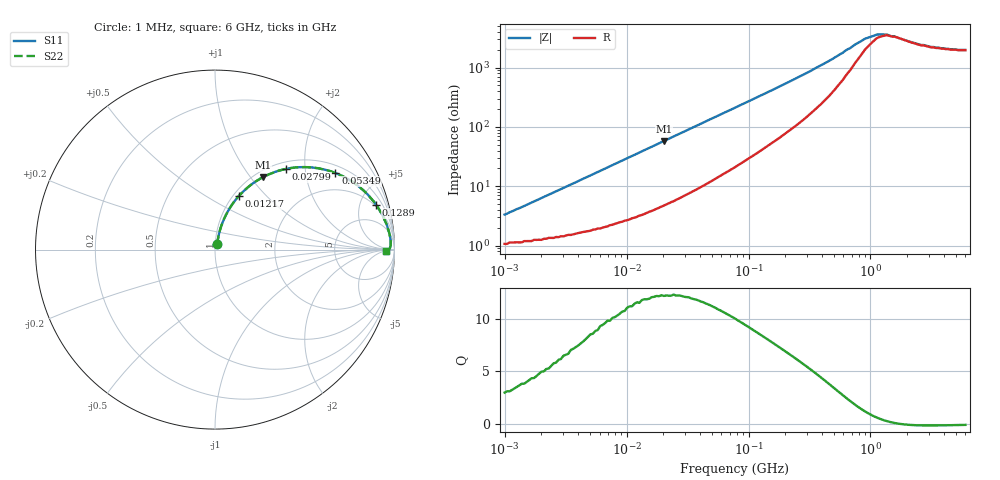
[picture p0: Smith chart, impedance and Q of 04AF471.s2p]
# MHz S MA R 50
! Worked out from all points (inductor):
!   189 points, 1 MHz to 6 GHz, reference 50 ohm
!   read as one part in series: L = 498 nH near 1.047 MHz
!   highest Q = 12.2 at 20.24 MHz (marker M1), where L = 454 nH
!   self-resonance near 1.671 GHz
!   S11 on the Smith chart (normalised r, x): 1 MHz: 1.02, +0.06; 12.17 MHz: 1.06, +0.71; 27.99 MHz: 1.13, +1.58; 53.49 MHz: 1.27, +2.94; 128.9 MHz: 1.81, +6.88; 6 GHz: 40, -5
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1  0.033 69.3  0.989 -1.8  0.989 -1.8  0.033 69.3
2.3  0.071 75.4  0.984 -4.0  0.984 -4.0  0.071 75.4
4.396  0.13 75.3  0.975 -7.4  0.975 -7.4  0.13 75.3
8.023  0.226 71.4  0.952 -13.0  0.952 -13.0  0.226 71.4
12.168  0.326 66.1  0.918 -18.9  0.918 -18.9  0.326 66.1
18.454  0.453 58.5  0.855 -26.8  0.855 -26.8  0.453 58.5
20.243  0.484 56.5  0.836 -28.9  0.836 -28.9  0.484 56.5
27.987  0.597 48.8  0.755 -36.5  0.755 -36.5  0.597 48.8
38.693  0.705 40.5  0.652 -44.6  0.652 -44.6  0.705 40.5
53.494  0.795 32.4  0.539 -52.4  0.539 -52.4  0.795 32.4
77.46  0.871 24.2  0.413 -60.0  0.413 -60.0  0.871 24.2
128.866  0.932 15.5  0.269 -67.7  0.269 -67.7  0.932 15.5
195.437  0.957 10.4  0.183 -71.4  0.183 -71.4  0.957 10.4
340.538  0.974 5.9  0.104 -72.7  0.104 -72.7  0.974 5.9
470.805  0.978 4.0  0.073 -70.7  0.073 -70.7  0.978 4.0
899.897  0.979 1.4  0.032 -47.8  0.032 -47.8  0.979 1.4
1134.163  0.976 0.8  0.027 -28.2  0.027 -28.2  0.976 0.8
1364.777  0.973 0.3  0.027 -12.3  0.027 -12.3  0.973 0.3
1429.415  0.972 0.3  0.028 -8.9  0.028 -8.9  0.972 0.3
2608.635  0.961 -0.4  0.04 9.6  0.04 9.6  0.961 -0.4
3139.06  0.958 -0.4  0.043 9.9  0.043 9.9  0.958 -0.4
6000  0.952 -0.4  0.048 7.0  0.048 7.0  0.952 -0.4
